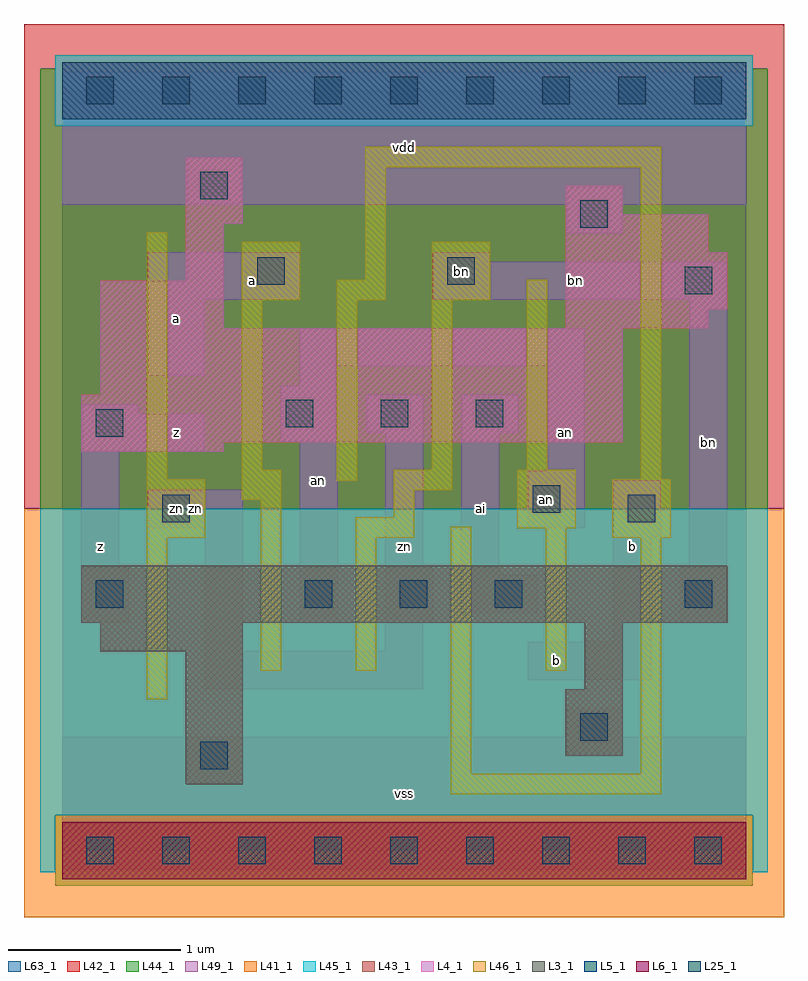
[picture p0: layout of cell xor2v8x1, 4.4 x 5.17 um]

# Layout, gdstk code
import gdstk
lib = gdstk.Library(unit=1e-6, precision=1e-09)
def R(c, l, rs):  # rectangles x0, y0, x1, y1
    for r in rs: c.add(gdstk.rectangle(r[:2], r[2:], *l))
def A(c, l, x, y, w, h, nx, ny, dx, dy):  # array of equal rectangles
    R(c, l, [(x+i*dx, y+j*dy, x+i*dx+w, y+j*dy+h) for i in range(nx) for j in range(ny)])
L3_1 = (3, 1)
L4_1 = (4, 1)
L5_1 = (5, 1)
L6_1 = (6, 1)
L25_1 = (25, 1)
L41_1 = (41, 1)
L42_1 = (42, 1)
L43_1 = (43, 1)
L44_1 = (44, 1)
L45_1 = (45, 1)
L46_1 = (46, 1)
L49_1 = (49, 1)
L63_1 = (63, 1)

xor2v8x1 = lib.new_cell('xor2v8x1')
R(xor2v8x1, L3_1, [(0.715,0.385,1.045,1.155), (2.915,0.55,3.245,0.935), (3.025,0.935,3.245,1.32), (0.22,1.155,1.045,1.32), (0.11,1.32,3.85,1.65)])
R(xor2v8x1, L4_1, [(0.11,2.31,0.935,2.365), (0.11,2.365,3.245,2.64), (0.22,2.64,3.245,3.025), (0.22,3.025,0.935,3.3), (2.915,3.025,3.74,3.135), (2.915,3.135,3.85,3.465), (0.715,3.3,0.935,3.63), (2.915,3.465,3.74,3.685), (0.715,3.63,1.045,4.015), (2.915,3.685,3.245,3.85)])
R(xor2v8x1, L5_1, [(0,4.235,3.96,4.565)])
R(xor2v8x1, L6_1, [(0,-0.165,3.96,0.165)])
A(xor2v8x1, L25_1, 0.14, -0.08, 0.16, 0.16, 9, 2, 0.44, 4.4)
A(xor2v8x1, L25_1, 1.405, 1.405, 0.16, 0.16, 3, 1, 0.55, 0)
A(xor2v8x1, L25_1, 1.295, 2.45, 0.16, 0.16, 3, 1, 0.55, 0)
R(xor2v8x1, L25_1, [(0.8,0.47,0.96,0.63), (3,0.635,3.16,0.795), (0.195,1.405,0.355,1.565), (3.605,1.405,3.765,1.565), (0.58,1.9,0.74,2.06), (3.275,1.9,3.435,2.06), (2.725,1.955,2.885,2.115), (0.195,2.395,0.355,2.555), (3.605,3.22,3.765,3.38), (1.13,3.275,1.29,3.435), (2.23,3.275,2.39,3.435), (3,3.605,3.16,3.765), (0.8,3.77,0.96,3.93)])
R(xor2v8x1, L41_1, [(-0.22,-0.385,4.18,1.98)])
R(xor2v8x1, L42_1, [(-0.22,1.98,4.18,4.785)])
R(xor2v8x1, L43_1, [(0,-0.165,3.96,0.165), (0.715,0.385,1.045,1.155), (2.915,0.55,3.245,0.935), (3.025,0.935,3.245,1.32), (0.22,1.155,1.045,1.32), (0.11,1.32,3.85,1.65), (0.11,2.31,0.935,2.365), (0.11,2.365,3.245,2.64), (0.22,2.64,3.245,3.025), (0.22,3.025,0.935,3.3), (2.915,3.025,3.74,3.135), (2.915,3.135,3.85,3.465), (0.715,3.3,0.935,3.63), (2.915,3.465,3.74,3.685), (0.715,3.63,1.045,4.015), (2.915,3.685,3.245,3.85), (0,4.235,3.96,4.565)])
R(xor2v8x1, L44_1, [(-0.04,-0.205,4,0.205), (-0.125,1.98,4.085,4.195), (-0.125,4.195,-0.04,4.525), (4,4.195,4.085,4.525)])
R(xor2v8x1, L45_1, [(-0.125,-0.125,-0.04,0.205), (4,-0.125,4.085,0.205), (-0.125,0.205,4.085,1.98), (-0.04,4.195,4,4.605)])
R(xor2v8x1, L46_1, [(2.25,0.325,3.47,0.445), (2.25,0.445,2.37,1.875), (3.35,0.445,3.47,1.81), (0.49,0.875,0.61,1.81), (1.15,1.04,1.27,2.03), (1.7,1.04,1.82,1.81), (2.8,1.04,2.92,1.865), (0.49,1.81,0.83,2.15), (1.7,1.81,2.04,1.93), (3.185,1.81,3.525,2.15), (2.635,1.865,2.975,2.205), (1.92,1.93,2.04,2.085), (1.04,2.03,1.27,2.205), (1.92,2.085,2.26,2.205), (1.59,2.14,1.71,3.185), (0.49,2.15,0.61,3.58), (3.35,2.15,3.47,3.955), (1.04,2.205,1.16,3.185), (2.14,2.205,2.26,3.185), (2.69,2.205,2.81,3.305), (1.04,3.185,1.38,3.525), (1.59,3.185,1.875,3.305), (2.14,3.185,2.48,3.525), (1.755,3.305,1.875,3.955), (1.755,3.955,3.47,4.075)])
R(xor2v8x1, L49_1, [(0,-0.11,3.96,0.66), (2.915,0.66,3.245,0.825), (0.825,0.935,2.09,1.155), (2.695,0.99,3.41,1.21), (0.825,1.155,1.045,1.87), (1.87,1.155,2.09,1.32), (3.19,1.21,3.41,1.815), (0.11,1.32,0.385,1.65), (1.375,1.32,1.595,2.365), (1.87,1.32,2.145,1.65), (3.575,1.32,3.85,1.65), (2.31,1.375,2.75,1.595), (2.31,1.595,2.53,2.42), (0.11,1.65,0.33,2.31), (1.87,1.65,2.09,2.42), (3.63,1.65,3.85,3.19), (3.19,1.815,3.465,2.145), (0.495,1.87,1.045,2.09), (2.695,1.87,3.025,2.2), (2.805,2.2,3.025,2.805), (0.11,2.31,0.825,2.53), (1.265,2.365,1.595,2.695), (1.76,2.42,2.09,2.64), (2.31,2.42,2.64,2.64), (0.11,2.53,0.44,2.585), (1.375,2.695,1.595,2.805), (0.495,2.75,0.825,3.19), (1.375,2.805,3.025,3.025), (0.495,3.19,1.375,3.465), (2.145,3.19,3.85,3.41), (2.145,3.41,2.475,3.465), (2.915,3.575,3.245,3.74), (0,3.74,3.96,4.51)])
R(xor2v8x1, L63_1, [(0,0,3.96,4.4)])
xor2v8x1.add(gdstk.Label('zn', (0.66,1.98), layer=49, texttype=1))
xor2v8x1.add(gdstk.Label('bn', (2.31,3.355), layer=49, texttype=1))
xor2v8x1.add(gdstk.Label('an', (2.805,2.035), layer=49, texttype=1))
xor2v8x1.add(gdstk.Label('z', (0.22,1.76), layer=49, texttype=1))
xor2v8x1.add(gdstk.Label('z', (0.66,2.42), layer=49, texttype=1))
xor2v8x1.add(gdstk.Label('zn', (0.77,1.98), layer=49, texttype=1))
xor2v8x1.add(gdstk.Label('a', (0.66,3.08), layer=49, texttype=1))
xor2v8x1.add(gdstk.Label('a', (1.1,3.3), layer=49, texttype=1))
xor2v8x1.add(gdstk.Label('vss', (1.98,0.33), layer=49, texttype=1))
xor2v8x1.add(gdstk.Label('an', (1.485,2.145), layer=49, texttype=1))
xor2v8x1.add(gdstk.Label('zn', (1.98,1.76), layer=49, texttype=1))
xor2v8x1.add(gdstk.Label('vdd', (1.98,4.07), layer=49, texttype=1))
xor2v8x1.add(gdstk.Label('b', (2.86,1.1), layer=49, texttype=1))
xor2v8x1.add(gdstk.Label('an', (2.915,2.42), layer=49, texttype=1))
xor2v8x1.add(gdstk.Label('ai', (2.42,1.98), layer=49, texttype=1))
xor2v8x1.add(gdstk.Label('b', (3.3,1.76), layer=49, texttype=1))
xor2v8x1.add(gdstk.Label('bn', (3.74,2.365), layer=49, texttype=1))
xor2v8x1.add(gdstk.Label('bn', (2.97,3.3), layer=49, texttype=1))

lib.write_gds('xor2v8x1.gds')
